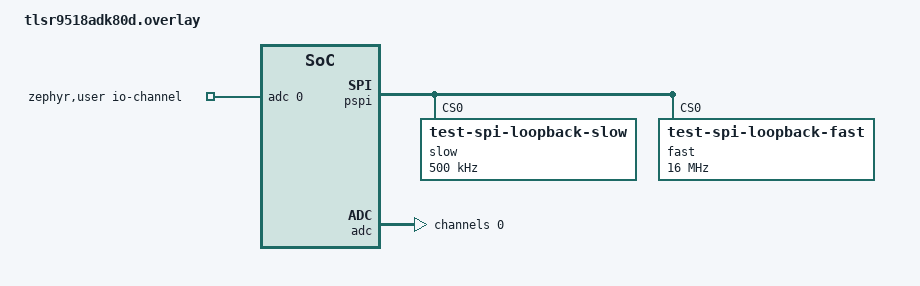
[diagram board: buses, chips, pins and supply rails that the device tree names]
/*
 * Copyright (c) 2022 Kumar Gala <galak@kernel.org>
 *
 * SPDX-License-Identifier: Apache-2.0
 */

&pspi {
	slow@0 {
		compatible = "test-spi-loopback-slow";
		reg = <0>;
		spi-max-frequency = <500000>;
	};

	fast@0 {
		compatible = "test-spi-loopback-fast";
		reg = <0>;
		spi-max-frequency = <16000000>;
	};
};

/ {
	zephyr,user {
		io-channels = <&adc 0>;
	};
};

&adc {
	#address-cells = <1>;
	#size-cells = <0>;
	status = "okay";
	channel@0 {
		reg = <0>;
		zephyr,gain = "ADC_GAIN_1_4";
		zephyr,reference = "ADC_REF_INTERNAL";
		zephyr,acquisition-time = <ADC_ACQ_TIME_DEFAULT>;
		zephyr,resolution = <12>;
		zephyr,input-positive = <15>;
	};
};
